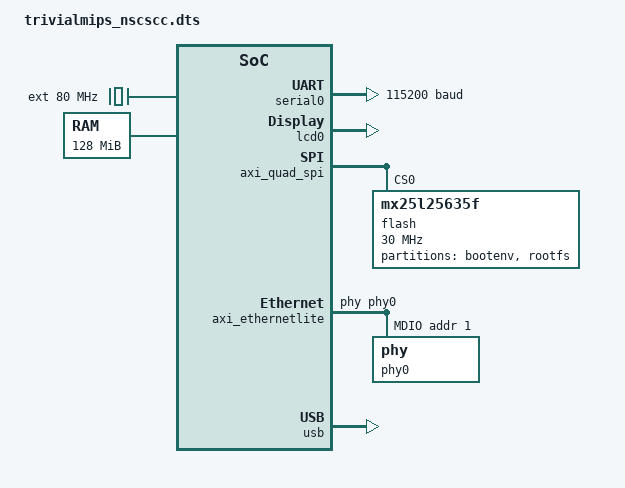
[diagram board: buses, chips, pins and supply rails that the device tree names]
/dts-v1/;

#include <dt-bindings/interrupt-controller/irq.h>

/ {
	compatible = "TrivialMIPS,NSCSCC";
	#address-cells = <1>;
	#size-cells = <1>;

	chosen {
		//bootargs = "console=ttyS0,115200n8 console=tty1 rootfstype=squashfs root=/dev/mtdblock1";
		bootargs = "console=ttyS0,115200n8 console=tty1 root=/dev/nfs rootfstype=nfs nfsroot=192.168.1.30:/nfsshare,proto=tcp,nolock,nfsvers=3 nfsrootdebug rw ip=192.168.1.60:192.168.1.30:192.168.1.30:255.255.255.0:soc:eth0:off";
	};

	aliases {
        	serial0 = &serial0;
    	};

	cpus {
		#address-cells = <1>;
		#size-cells = <0>;
		cpu@0 {
			device_type = "cpu";
			compatible = "mips,4Kc";
			clocks = <&ext>;
			reg = <0>;
		};
	};

	ext: ext {
		compatible = "fixed-clock";
		clock-frequency = <80000000>;
		#clock-cells = <0>;
	};

	memory {
		device_type = "memory";
		reg = <0x0 0x8000000>;
	};

	cpuintc: interrupt-controller@0 {
		#address-cells = <0>;
		#interrupt-cells = <1>;
		interrupt-controller;
		compatible = "mti,cpu-interrupt-controller";
	};

	soc {
		compatible = "simple-bus";
		#address-cells = <1>;
		#size-cells = <1>;
		#interrupt-cells = <1>;
		ranges;

		serial0: serial@1fd02000 {
			device_type = "serial";
			compatible = "ns16550a";
			reg = <0x1fd02000 0x1000>;
			reg-offset = <0x1000>;
			reg-io-width = <4>;
			reg-shift = <2>;
			current-speed = <115200>;
			clock-frequency = <100000000>;
			interrupt-parent = <&cpuintc>;
			interrupts = <2>;
		};

		lcd0: lcd@1c030000 {
			compatible = "lcd,nt35510";
			reg = <0x1c030000 0x1000>;
		};

		axi_quad_spi: spi@1c040000 {
			#address-cells = <1>;
			#size-cells = <0>;
			compatible = "xlnx,xps-spi-2.00.a";
			interrupt-parent = <&axi_intc_0>;
			interrupts = <1>;
			reg = <0x1c040000 0x10000>;
			xlnx,num-ss-bits = <0x1>;
			num-cs = <0x1>;
			fifo-size = <256>;

			flash@0 {
				compatible = "mx25l25635f", "jedec,spi-nor";
				reg = <0x0>;
				spi-max-frequency = <30000000>;

				spi-rx-bus-width = <4>;
				m25p,fast-read;

				partitions {
					compatible = "fixed-partitions";
					#address-cells = <1>;
					#size-cells = <1>;

					partition@10000 {
						label = "bootenv";
						reg = <0x10000 0x10000>;
					};
					partition@20000 {
						label = "rootfs";
						reg = <0x20000 0x1fe0000>;
					};
				};
			};
		};

		axi_intc_0: interrupt-controller@1d000000 {
			#interrupt-cells = <1>;
			compatible = "xlnx,xps-intc-1.00.a";
			interrupt-controller;
			interrupt-parent = <&cpuintc>;
			interrupts = <6>;
			reg = <0x1d000000 0x1000>;
			xlnx,kind-of-intr = <0x7>;
			xlnx,num-intr-inputs = <0x4>;
		};

		axi_ethernetlite: ethernet@1c000000 {
			compatible = "xlnx,xps-ethernetlite-3.00.a";
			device_type = "network";
			mac-address = [19 98 00 01 00 29];
			phy-handle = <&phy0>;
			reg = <0x1c000000 0x10000>;
			xlnx,duplex = <0x1>;
			xlnx,include-global-buffers = <0x1>;
			xlnx,include-internal-loopback = <0x0>;
			xlnx,include-mdio = <0x1>;
			xlnx,instance = "axi_ethernetlite_inst";
			xlnx,rx-ping-pong = <0x1>;
			xlnx,s-axi-id-width = <0x1>;
			xlnx,tx-ping-pong = <0x1>;
			xlnx,use-internal = <0x0>;
			interrupt-parent = <&axi_intc_0>;
			interrupts = <0>;
			mdio {
				#address-cells = <1>;
				#size-cells = <0>;
				phy0: phy@1 {
					device_type = "ethernet-phy";
					reg = <1>;
				} ;
			} ;
		} ;

		ps2: ps2@1c020000 {
			compatible = "altr,ps2-1.0";
			reg = <0x1c020000 0x1000>;
			interrupt-parent = <&cpuintc>;
			interrupts = <3>;
		};

		usb: usb@1c050000 {
		    compatible = "ue11-hcd";
		    reg = <0x1c050000 0x1000>;
		    interrupt-parent = <&axi_intc_0>;
		    interrupts = <3>;
		};

		axi_tft_0: axi_tft@1c010000 {
			compatible = "xlnx,xps-tft-1.00.accl";
			reg = <0x1c010000 0x1000>, // TFT controller
				<0x1c060000 0x1000>, // framebuffer read
				<0x1c070000 0x1000>, // framebuffer write
				<0x1ff08000 0x4>; // video stream modifier control
			xlnx,dcr-splb-slave-if = <0x1>;
			resolution = <640 480>; // actual video size
			virtual-resolution = <1024 480>; // framebuffersize
			phys-size = <640 480>; // don't care (physical size of screen)
		};

	};
};

